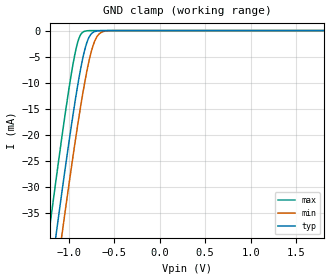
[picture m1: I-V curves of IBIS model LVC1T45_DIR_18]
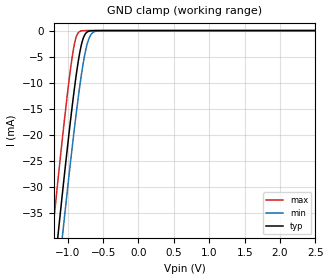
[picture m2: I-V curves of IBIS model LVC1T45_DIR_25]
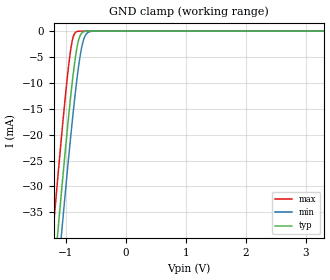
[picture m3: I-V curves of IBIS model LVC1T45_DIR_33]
| TEXAS INSTRUMENTS INCORPORATED
| Standard Linear and Logic Group
| IBIS Model of SN74LVC1T45
| Single-Bit Dual Supply Bus Transceiver with Configurable Output Voltage
| Translation and 3-State Outputs
| This file contains package information for the following:
|  SOT 6-pin (DBV) package as [Component] LVC1T45_DBV
|  DSBGA 6-pin (YEP_YZP) package as [Component] LVC1T45_YEP_YZP
|  SOT 6-pin (DCK) package as [Component] LVC1T45_DCK
| This device can be powered at the following Vccs:
|  1.8 volt Vcc
|  2.5 volt Vcc
|  3.3 volt Vcc
|  5 volt Vcc
|  2.8 volt Vcc
| This file provides unique models under the [Model Selector] for each Vcc.
| For operation at a specific Vcc, select the appropriate model after each
| [Model Selector] keyword.
[IBIS Ver]   3.2
[Comment char]  |_char
[File Name]   sn74lvc1t45.ibs
[File Rev]   1.3 | x_die
[Date]   May 19, 2006
[Source]   Data created from TI-SPICE simulations at TI-SLL.
[Notes]   The following is an IBIS list for the SN74LVC1T45.
   Please contact sllibis@ti.com with questions and
   comments concerning SLL IBIS models.
   - FILE REV HISTORY
   - 1.1 Release IBIS file on 09/29/03
   - 1.2 YEP and YZP packages released on 04/30/04
   - 1.3 Added 2.8 V voltage range  05/24/06
   - Power clamp data deleted as there is no power-clamp diode.
   - Due to the fact that the Device is 5-V Input/Output
   tolarent, the pulldown has some Non-Monotonic Warnings.
[Disclaimer] Property of Texas Instruments Incorporated.  Unauthorized
                reproduction and/or distribution is strictly prohibited.
                This product is protected under copyright law.
                Created  2006, (C) Copyright  2006, Texas Instruments
                Incorporated, All Rights Reserved
                UNLESS THERE IS A SIGNED, WRITTEN AGREEMENT TO THE
                CONTRARY, TEXAS INSTRUMENTS (TI) IS PROVIDING THE IBIS
                MODELS  AND WITHOUT ANY WARRANTY, EXPRESSED OR
                IMPLIED.  TI assumes no liability for:
                 1) the accuracy of the IBIS models provided to your
                    company;
                 2) the proper functioning of these IBIS Models in your
                    design or for any resulting applications; or
                 3) infringement of patents, copyrights or intellectual
                    property rights resulting from your use of these IBIS
                    models.
                TI provides IBIS Models as a service to our customers.
                You and your company shall not distribute, sell or give
                these models to anyone else without prior written
                permission from TI.
                TI reserves the right to make changes to our products or
                to discontinue any semiconductor product or service
                without notice, and advises our customers to obtain the
                latest version of relevant information to verify, before
                placing orders, that the information being relied on is
                current.
                Please be aware that your receipt and use of the IBIS
                information provided shall serve as acceptance of these
                terms and conditions.  If you do not accept these terms,
                you should return or destroy the IBIS models and any
                other accompanying information immediately.
| Component SN74LVC1T45_DBV 6-PIN SOT
[Component]   SN74LVC1T45_DBV
[Manufacturer]   Texas Instruments, Inc.
[Package]
|   typ   min   max
R_pkg   2.500e-02   1.900e-02   3.700e-02
L_pkg   1.524e-09   1.260e-09   1.751e-09
C_pkg   2.450e-13   1.980e-13   2.640e-13
[Pin]   signal_name   model_name   R_pin   L_pin   C_pin
1   VCCA   POWER   2.100e-02   1.405e-09   2.460e-13
2   GND   GND   3.700e-02   1.751e-09   2.630e-13
3   A   LVC1T45_IO_A   2.600e-02   1.493e-09   2.470e-13
4   B   LVC1T45_IO_B   1.900e-02   1.620e-09   2.640e-13
5   DIR   LVC1T45_DIR   2.400e-02   1.260e-09   1.980e-13
6   VCCB   POWER   2.100e-02   1.617e-09   2.500e-13
| Component SN74LVC1T45_DCK 6-PIN SOT
[Component]   SN74LVC1T45_DCK
[Manufacturer]   Texas Instruments, Inc.
[Package]
|   typ   min   max
R_pkg   1.400e-02   1.100e-02   2.100e-02
L_pkg   9.480e-10   7.840e-10   1.103e-09
C_pkg   1.910e-13   1.670e-13   2.050e-13
[Pin]   signal_name   model_name   R_pin   L_pin   C_pin
1   VCCA   POWER   1.300e-02   9.840e-10   1.960e-13
2   GND   GND   2.100e-02   1.103e-09   2.050e-13
3   A   LVC1T45_IO_A   1.100e-02   9.980e-10   1.970e-13
4   B   LVC1T45_IO_B   1.300e-02   9.040e-10   1.900e-13
5   DIR   LVC1T45_DIR   1.500e-02   7.840e-10   1.670e-13
6   VCCB   POWER   1.200e-02   9.160e-10   1.950e-13
| Component SN74LVC1T45_YEP_YZP 6-PIN DSBGA
[Component]   SN74LVC1T45_YEP_YZP
[Manufacturer]   Texas Instruments, Inc.
[Package]
|   typ   min   max
R_pkg   1.000e-03   1.000e-03   4.000e-03
L_pkg   7.500e-11   2.400e-11   3.790e-10
C_pkg   5.600e-14   0.000e+00   6.700e-14
[Pin]   signal_name   model_name   R_pin   L_pin   C_pin
1   VCCA   POWER   1.000e-03   2.500e-11   6.400e-14
2   GND   GND   1.000e-03   2.400e-11   6.700e-14
3   A   LVC1T45_IO_A   1.000e-03   2.500e-11   6.400e-14
4   B   LVC1T45_IO_B   1.000e-03   2.500e-11   6.400e-14
5   DIR   LVC1T45_DIR   1.000e-03   2.400e-11   6.700e-14
6   VCCB   POWER   1.000e-03   2.500e-11   6.400e-14
| Model LVC1T45_DIR
[Model Selector]   LVC1T45_DIR
LVC1T45_DIR_18   1.8 volt Vcc
LVC1T45_DIR_25   2.5 volt Vcc
LVC1T45_DIR_33   3.3 volt Vcc
LVC1T45_DIR_50   5 volt Vcc
LVC1T45_DIR_28A   2.8 volt Vcc
| Model LVC1T45_IO_B
[Model Selector]   LVC1T45_IO_B
LVC1T45_IO_B_18   1.8 volt Vcc
LVC1T45_IO_B_25   2.5 volt Vcc
LVC1T45_IO_B_33   3.3 volt Vcc
LVC1T45_IO_B_50   5 volt Vcc
LVC1T45_IO_B_28A   2.8 volt Vcc
| Model LVC1T45_IO_A
[Model Selector]   LVC1T45_IO_A
LVC1T45_IO_A_18   1.8 volt Vcc
LVC1T45_IO_A_25   2.5 volt Vcc
LVC1T45_IO_A_33   3.3 volt Vcc
LVC1T45_IO_A_50   5 volt Vcc
LVC1T45_IO_A_28A   2.8 volt Vcc
| Models and submodels in the file (15): LVC1T45_DIR_18 (Input), LVC1T45_DIR_25 (Input), LVC1T45_DIR_33 (Input), LVC1T45_DIR_50 (Input), LVC1T45_DIR_28A (Input), LVC1T45_IO_B_18 (I/O), LVC1T45_IO_B_25 (I/O), LVC1T45_IO_B_33 (I/O), LVC1T45_IO_B_50 (I/O), LVC1T45_IO_B_28A (I/O), LVC1T45_IO_A_18 (I/O), LVC1T45_IO_A_25 (I/O), LVC1T45_IO_A_33 (I/O), LVC1T45_IO_A_50 (I/O), LVC1T45_IO_A_28A (I/O)
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[Model]   LVC1T45_DIR_18
Model_type  Input
Vinl=0.5775
Vinh=1.2675
| variable   typ   min   max
C_comp   3.23pF   2.70pF   4.14pF
[Temperature Range]   40   100   -40
| Ambient temperature   25   85   -40
[Voltage range]   1.8   1.65   1.95
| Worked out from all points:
|   GND clamp passes 1 mA (typ) near -0.77 V on its own axis
[GND Clamp]
| LVC1T45_DIR_18
|   Voltage   I(typ)   I(min)   I(max)
-5.5V     -655.2mA   -662.2mA   -646.6mA
-1.215V   -49.6mA    -57.88mA   -38.96mA
-1.135V   -39.07mA   -47.36mA   -28.42mA
-1.075V   -31.35mA   -39.6mA    -20.75mA
-1.055V   -28.82mA   -37.05mA   -18.27mA
-955mV    -16.68mA   -24.66mA   -6.874mA
-885mV    -9.098mA   -16.55mA   -1.486mA
-825mV    -3.922mA   -10.26mA   -137.1uA
-780mV    -1.472mA   -6.227mA   -17.15uA
-715mV    -205.4uA   -2.128mA   -808.5nA
-650mV    -22.01uA   -443.9uA   -37.93nA
1.8V      3.326pA    6.142pA    3.026pA
[Model]   LVC1T45_DIR_25
Model_type  Input
Vinl=0.7
Vinh=1.7
| variable   typ   min   max
C_comp   3.14pF   2.55pF   4.16pF
[Temperature Range]   40   100   -40
| Ambient temperature   25   85   -40
[Voltage range]   2.5   2.3   2.7
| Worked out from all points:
|   GND clamp passes 1 mA (typ) near -0.77 V on its own axis
[GND Clamp]
| LVC1T45_DIR_25
|   Voltage   I(typ)   I(min)   I(max)
-5.5V     -655.2mA   -662.2mA   -646.6mA
-1.215V   -49.6mA    -57.88mA   -38.96mA
-1.14V    -39.72mA   -48.01mA   -29.07mA
-1.12V    -37.12mA   -45.41mA   -26.48mA
-1.08V    -31.98mA   -40.25mA   -21.38mA
-1.06V    -29.44mA   -37.69mA   -18.89mA
-960mV    -17.26mA   -25.26mA   -7.377mA
-890mV    -9.597mA   -17.1mA    -1.734mA
-785mV    -1.671mA   -6.635mA   -21.67uA
-720mV    -242.5uA   -2.354mA   -1.023uA
-650mV    -22.01uA   -443.9uA   -37.93nA
2.5V      4.713pA    7.577pA    4.389pA
[Model]   LVC1T45_DIR_33
Model_type  Input
Vinl=0.8
Vinh=2.0
| variable   typ   min   max
C_comp   3.06pF   2.42pF   4.23pF
[Temperature Range]   40   100   -40
| Ambient temperature   25   85   -40
[Voltage range]   3.3   3   3.6
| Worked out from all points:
|   GND clamp passes 1 mA (typ) near -0.77 V on its own axis
[GND Clamp]
| LVC1T45_DIR_33
|   Voltage   I(typ)   I(min)   I(max)
-5.5V     -655.2mA   -662.2mA   -646.6mA
-1.225V   -50.93mA   -59.21mA   -40.3mA
-1.145V   -40.37mA   -48.66mA   -29.72mA
-1.12V    -37.12mA   -45.41mA   -26.48mA
-1.08V    -31.98mA   -40.25mA   -21.38mA
-1.06V    -29.44mA   -37.69mA   -18.89mA
-965mV    -17.84mA   -25.87mA   -7.89mA
-885mV    -9.098mA   -16.55mA   -1.486mA
-780mV    -1.472mA   -6.227mA   -17.15uA
-715mV    -205.4uA   -2.128mA   -808.5nA
-640mV    -15.53uA   -338.1uA   -23.69nA
3.3V      6.304pA    9.258pA    5.93pA
